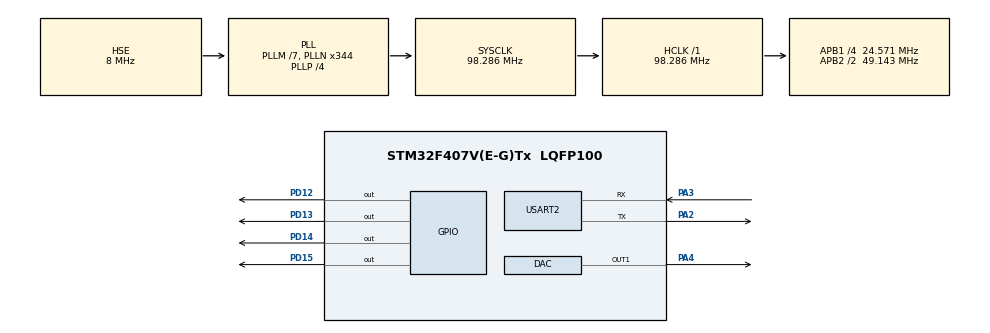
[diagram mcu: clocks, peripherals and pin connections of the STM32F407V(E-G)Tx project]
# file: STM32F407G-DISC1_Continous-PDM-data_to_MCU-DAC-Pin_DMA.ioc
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DAC.DAC_Trigger=DAC_TRIGGER_T6_TRGO
Dma.DAC1.0.Direction=DMA_MEMORY_TO_PERIPH
Dma.DAC1.0.FIFOMode=DMA_FIFOMODE_DISABLE
Dma.DAC1.0.Instance=DMA1_Stream5
Dma.DAC1.0.MemDataAlignment=DMA_MDATAALIGN_HALFWORD
Dma.DAC1.0.MemInc=DMA_MINC_ENABLE
Dma.DAC1.0.Mode=DMA_CIRCULAR
Dma.DAC1.0.PeriphDataAlignment=DMA_PDATAALIGN_HALFWORD
Dma.DAC1.0.PeriphInc=DMA_PINC_DISABLE
Dma.DAC1.0.Priority=DMA_PRIORITY_MEDIUM
Dma.Request0=DAC1
Mcu.Family=STM32F4
Mcu.Name=STM32F407V(E-G)Tx
Mcu.Package=LQFP100
NVIC.DMA1_Stream5_IRQn=true\:0\:0\:false\:false\:true\:false\:true\:true
NVIC.PriorityGroup=NVIC_PRIORITYGROUP_0
NVIC.TIM2_IRQn=true\:0\:0\:false\:false\:true\:true\:true\:true
NVIC.TIM6_DAC_IRQn=true\:0\:0\:false\:false\:true\:true\:true\:true
NVIC.TIM7_IRQn=true\:0\:0\:false\:false\:true\:true\:true\:true
PA13.Mode=Trace_Asynchronous_SW
PA13.Signal=SYS_JTMS-SWDIO
PA14.Mode=Trace_Asynchronous_SW
PA14.Signal=SYS_JTCK-SWCLK
PA2.Mode=Asynchronous
PA2.Signal=USART2_TX
PA3.Mode=Asynchronous
PA3.Signal=USART2_RX
PA4.Signal=COMP_DAC1_group
PA5.GPIO_Speed=GPIO_SPEED_FREQ_LOW
PA5.Signal=SPI1_SCK
PB10.GPIO_Speed=GPIO_SPEED_FREQ_LOW
PB10.Signal=SPI2_SCK
PB15.GPIO_Speed=GPIO_SPEED_FREQ_LOW
PB15.Signal=SPI2_MOSI
PB3.Mode=Trace_Asynchronous_SW
PB3.Signal=SYS_JTDO-SWO
PB4.GPIO_Speed=GPIO_SPEED_FREQ_LOW
PB4.Signal=SPI1_MISO
PB5.GPIO_Speed=GPIO_SPEED_FREQ_LOW
PB5.Signal=SPI1_MOSI
PD12.Signal=GPIO_Output
PD13.Signal=GPIO_Output
PD14.Signal=GPIO_Output
PD15.Signal=GPIO_Output
PDM2PCM.CHANNEL1_in_ptr_channels=1
PDM2PCM.CHANNEL1_out_ptr_channels=1
PDM2PCM.CHANNEL1_output_samples_number=250
PH0-OSC_IN.Mode=HSE-External-Oscillator
PH0-OSC_IN.Signal=RCC_OSC_IN
PH1-OSC_OUT.Mode=HSE-External-Oscillator
PH1-OSC_OUT.Signal=RCC_OSC_OUT
ProjectManager.HeapSize=0x200
ProjectManager.StackSize=0x400
ProjectManager.TargetToolchain=STM32CubeIDE
RCC.48MHZClocksFreq_Value=56163265.30612246
RCC.AHBFreq_Value=98285714.2857143
RCC.APB1CLKDivider=RCC_HCLK_DIV4
RCC.APB1Freq_Value=24571428.571428575
RCC.APB1TimFreq_Value=49142857.14285715
RCC.APB2CLKDivider=RCC_HCLK_DIV2
RCC.APB2Freq_Value=49142857.14285715
RCC.APB2TimFreq_Value=98285714.2857143
RCC.CortexFreq_Value=98285714.2857143
RCC.HCLKFreq_Value=98285714.2857143
RCC.HSE_VALUE=8000000
RCC.HSI_VALUE=16000000
RCC.LSE_VALUE=32768
RCC.PLLM=7
RCC.PLLN=344
RCC.PLLP=RCC_PLLP_DIV4
RCC.PLLQ=7
RCC.PLLSourceVirtual=RCC_PLLSOURCE_HSE
RCC.SYSCLKFreq_VALUE=98285714.2857143
RCC.SYSCLKSource=RCC_SYSCLKSOURCE_PLLCLK
RCC.VCOOutputFreq_Value=393142857.1428572
SH.COMP_DAC1_group.0=DAC_OUT1,DAC_OUT1
TIM2.AutoReloadPreload=TIM_AUTORELOAD_PRELOAD_ENABLE
TIM2.Period=250-1
TIM2.Prescaler=1024-1
TIM2.TIM_MasterOutputTrigger=TIM_TRGO_UPDATE
TIM6.AutoReloadPreload=TIM_AUTORELOAD_PRELOAD_ENABLE
TIM6.Period=64-1
TIM6.Prescaler=16-1
TIM6.TIM_MasterOutputTrigger=TIM_TRGO_UPDATE
TIM7.Period=250
TIM7.Prescaler=1024-1
TIM7.TIM_MasterOutputTrigger=TIM_TRGO_UPDATE
USART2.VirtualMode=VM_ASYNC
VP_CRC_VS_CRC.Mode=CRC_Activate
VP_PDM2PCM_VS_PDM2PCM.Mode=PDM2PCM_Channel
VP_TIM2_VS_ClockSourceINT.Mode=Internal
VP_TIM6_VS_ClockSourceINT.Mode=Enable_Timer
VP_TIM7_VS_ClockSourceINT.Mode=Enable_Timer
board=STM32F407G-DISC1

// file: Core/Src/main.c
/* USER CODE BEGIN Header */
/**
 ******************************************************************************
 * @file           : main.c
 * @brief          : Main program body
 ******************************************************************************
 * @attention
 *
 * <h2><center>&copy; Copyright (c) 2021 STMicroelectronics.
 * All rights reserved.</center></h2>
 *
 * This software component is licensed by ST under Ultimate Liberty license
 * SLA0044, the "License"; You may not use this file except in compliance with
 * the License. You may obtain a copy of the License at:
 *                             www.st.com/SLA0044
 *
 ******************************************************************************
 */
/* USER CODE END Header */
#include "main.h"
#include "pdm2pcm.h"

/* USER CODE BEGIN Includes */

#include <stdio.h>
#include "pdm_tones.h"

/* USER CODE END Includes */

 CRC_HandleTypeDef hcrc;

DAC_HandleTypeDef hdac;
DMA_HandleTypeDef hdma_dac1;

TIM_HandleTypeDef htim2;
TIM_HandleTypeDef htim6;
TIM_HandleTypeDef htim7;

UART_HandleTypeDef huart2;

/* USER CODE BEGIN PV */

uint8_t send_data2[30] = "SPI buffer test";
uint8_t receive_data2[1000];
uint8_t PDM_receive_data[2000];

uint8_t send_data1[30] = "SPI buffer test";
uint8_t receive_data1[30];

int16_t PCM_outBuffer[500];
uint16_t PCM_DAC_outBuffer[500], timerPeriodElapsedCallbk_cntr;

/* USER CODE END PV */

void SystemClock_Config(void);
static void MX_GPIO_Init(void);
static void MX_USART2_UART_Init(void);
static void MX_DMA_Init(void);
static void MX_CRC_Init(void);
static void MX_DAC_Init(void);
static void MX_TIM6_Init(void);
static void MX_TIM2_Init(void);
static void MX_TIM7_Init(void);
/* USER CODE BEGIN PFP */

#define PUTCHAR_PROTOTYPE int __io_putchar(int ch)

/* USER CODE END PFP */

int main(void)
{

  /* MCU Configuration--------------------------------------------------------*/

  /* Reset of all peripherals, Initializes the Flash interface and the Systick. */
  HAL_Init();

  /* Configure the system clock */
  SystemClock_Config();

  /* Initialize all configured peripherals */
  MX_GPIO_Init();
  MX_USART2_UART_Init();
  MX_DMA_Init();
  MX_CRC_Init();
  MX_PDM2PCM_Init();
  MX_DAC_Init();
  MX_TIM6_Init();
  MX_TIM2_Init();
  MX_TIM7_Init();
  /* USER CODE BEGIN 2 */

	printf("Starting >> STM32F407G-DISC1_Continous-PDM-data_to_MCU-DAC-Pin_DMA \n");

	// first bit to MSB - 8bit tone "AA"
	for (uint16_t i = 0; i < sizeof(tone500HzA4_pdmdata) * 4; i++) {
		pdmBuffer8_8000bits_1000bytes_1[i >> 3] = 0x55;
		//		printf("i = %d,  i >>3 = %d, i mod sizeof(tone500HzA4_pdmdata) = %d \n",i, i >>3, i % sizeof(tone500HzA4_pdmdata));
	}

	// first bit to MSB - 8bit tone500Hz_pdmdata
	for (uint16_t i = 0; i < sizeof(tone500Hz_pdmdata) * 4; i++) {
		pdmBuffer8_8000bits_1000bytes_2[i >> 3] = (pdmBuffer8_8000bits_1000bytes_2[i >> 3] << 1) + tone500Hz_pdmdata[i % sizeof(tone500Hz_pdmdata)];
		//		printf("i = %d,  i >>3 = %d, i mod sizeof(tone500Hz_pdmdata) = %d \n",i, i >>3, i % sizeof(tone500Hz_pdmdata));
	}

	// first bit to MSB - 8bit tone500HzA4_pdmdata
	for (uint16_t i = 0; i < sizeof(tone500HzA4_pdmdata) * 4; i++) {
		pdmBuffer8_8000bits_1000bytes_3[i >> 3] = (pdmBuffer8_8000bits_1000bytes_3[i >> 3] << 1) + tone500HzA4_pdmdata[i % sizeof(tone500HzA4_pdmdata)];
		//		printf("i = %d,  i >>3 = %d, i mod sizeof(tone500HzA4_pdmdata) = %d \n",i, i >>3, i % sizeof(tone500HzA4_pdmdata));
	}

	for (uint16_t i = 0; i < 1000; i++) {
		pdmBuffer8_8000bits_4000bytes[i] = pdmBuffer8_8000bits_1000bytes_1[i]; // 0xAA data
	}

	for (uint16_t i = 0; i < 1000; i++) {
		pdmBuffer8_8000bits_4000bytes[i + 1000] = pdmBuffer8_8000bits_1000bytes_2[i]; // tone500Hz_pdmdata
	}

	for (uint16_t i = 0; i < 1000; i++) {
		pdmBuffer8_8000bits_4000bytes[i + 2000] = pdmBuffer8_8000bits_1000bytes_1[i]; // 0xAA data
	}

	for (uint16_t i = 0; i < 1000; i++) {
		pdmBuffer8_8000bits_4000bytes[i + 3000] = pdmBuffer8_8000bits_1000bytes_3[i]; // tone500HzA4_pdmdata
	}

	GPIOD->BSRR = (1 << 15); // Set
	PDM_Filter(&pdmBuffer8_8000bits_4000bytes[0], &PCM_outBuffer[0], &PDM1_filter_handler); // 2000bytes x 8bit/bytes = 16,000 bit / 64 decimate = 250 int of data
	GPIOD->BSRR = (1 << (15 + 16)); // Reset

	GPIOD->BSRR = (1 << 15); // Set
	PDM_Filter(&pdmBuffer8_8000bits_4000bytes[2000], &PCM_outBuffer[250], &PDM1_filter_handler); // 2000bytes x 8bit/bytes = 16,000 bit / 64 decimate = 250 int of data
	GPIOD->BSRR = (1 << (15 + 16)); // Reset

	for (int cntr = 0; cntr < 500; cntr++) { // 4000bytes x 8bit/bytes = 32,000 bit / 64 decimate = 500 int of data
		PCM_DAC_outBuffer[cntr] = (PCM_outBuffer[cntr] >> 4) + 2048; // convert to 12bit DC offset of DAC data
	}

	HAL_DAC_Start_DMA(&hdac, DAC_CHANNEL_1, (uint32_t*) PCM_DAC_outBuffer, 500, DAC_ALIGN_12B_R); // 4000bytes x 8bit/bytes = 32,000 bit / 64 decimate = 500 int of data

	HAL_TIM_Base_Start_IT(&htim6); //Start the timer
	HAL_TIM_Base_Start_IT(&htim2); //Start the timer
	HAL_TIM_Base_Start_IT(&htim7); //Start the timer

	HAL_Delay(100);

	printf("Ending   >> STM32F407G-DISC1_Continous-PDM-data_to_MCU-DAC-Pin_DMA \n");

  /* USER CODE END 2 */

  /* Infinite loop */
	while (1) {

	}
}

void SystemClock_Config(void)
{
  RCC_OscInitTypeDef RCC_OscInitStruct = {0};
  RCC_ClkInitTypeDef RCC_ClkInitStruct = {0};

  /** Configure the main internal regulator output voltage
  */
  __HAL_RCC_PWR_CLK_ENABLE();
  __HAL_PWR_VOLTAGESCALING_CONFIG(PWR_REGULATOR_VOLTAGE_SCALE1);

  /** Initializes the RCC Oscillators according to the specified parameters
  * in the RCC_OscInitTypeDef structure.
  */
  RCC_OscInitStruct.OscillatorType = RCC_OSCILLATORTYPE_HSE;
  RCC_OscInitStruct.HSEState = RCC_HSE_ON;
  RCC_OscInitStruct.PLL.PLLState = RCC_PLL_ON;
  RCC_OscInitStruct.PLL.PLLSource = RCC_PLLSOURCE_HSE;
  RCC_OscInitStruct.PLL.PLLM = 7;
  RCC_OscInitStruct.PLL.PLLN = 344;
  RCC_OscInitStruct.PLL.PLLP = RCC_PLLP_DIV4;
  RCC_OscInitStruct.PLL.PLLQ = 7;
  if (HAL_RCC_OscConfig(&RCC_OscInitStruct) != HAL_OK)
  {
    Error_Handler();
  }

  /** Initializes the CPU, AHB and APB buses clocks
  */
  RCC_ClkInitStruct.ClockType = RCC_CLOCKTYPE_HCLK|RCC_CLOCKTYPE_SYSCLK
                              |RCC_CLOCKTYPE_PCLK1|RCC_CLOCKTYPE_PCLK2;
  RCC_ClkInitStruct.SYSCLKSource = RCC_SYSCLKSOURCE_PLLCLK;
  RCC_ClkInitStruct.AHBCLKDivider = RCC_SYSCLK_DIV1;
  RCC_ClkInitStruct.APB1CLKDivider = RCC_HCLK_DIV4;
  RCC_ClkInitStruct.APB2CLKDivider = RCC_HCLK_DIV2;

  if (HAL_RCC_ClockConfig(&RCC_ClkInitStruct, FLASH_LATENCY_3) != HAL_OK)
  {
    Error_Handler();
  }
}

static void MX_CRC_Init(void)
{

  hcrc.Instance = CRC;
  if (HAL_CRC_Init(&hcrc) != HAL_OK)
  {
    Error_Handler();
  }
  __HAL_CRC_DR_RESET(&hcrc);

}

static void MX_DAC_Init(void)
{

  DAC_ChannelConfTypeDef sConfig = {0};

  /** DAC Initialization
  */
  hdac.Instance = DAC;
  if (HAL_DAC_Init(&hdac) != HAL_OK)
  {
    Error_Handler();
  }

  /** DAC channel OUT1 config
  */
  sConfig.DAC_Trigger = DAC_TRIGGER_T6_TRGO;
  sConfig.DAC_OutputBuffer = DAC_OUTPUTBUFFER_ENABLE;
  if (HAL_DAC_ConfigChannel(&hdac, &sConfig, DAC_CHANNEL_1) != HAL_OK)
  {
    Error_Handler();
  }

}

static void MX_TIM2_Init(void)
{

  TIM_ClockConfigTypeDef sClockSourceConfig = {0};
  TIM_MasterConfigTypeDef sMasterConfig = {0};

  htim2.Instance = TIM2;
  htim2.Init.Prescaler = 1024-1;
  htim2.Init.CounterMode = TIM_COUNTERMODE_UP;
  htim2.Init.Period = 250-1;
  htim2.Init.ClockDivision = TIM_CLOCKDIVISION_DIV1;
  htim2.Init.AutoReloadPreload = TIM_AUTORELOAD_PRELOAD_ENABLE;
  if (HAL_TIM_Base_Init(&htim2) != HAL_OK)
  {
    Error_Handler();
  }
  sClockSourceConfig.ClockSource = TIM_CLOCKSOURCE_INTERNAL;
  if (HAL_TIM_ConfigClockSource(&htim2, &sClockSourceConfig) != HAL_OK)
  {
    Error_Handler();
  }
  sMasterConfig.MasterOutputTrigger = TIM_TRGO_UPDATE;
  sMasterConfig.MasterSlaveMode = TIM_MASTERSLAVEMODE_DISABLE;
  if (HAL_TIMEx_MasterConfigSynchronization(&htim2, &sMasterConfig) != HAL_OK)
  {
    Error_Handler();
  }

}

static void MX_TIM6_Init(void)
{

  TIM_MasterConfigTypeDef sMasterConfig = {0};

  htim6.Instance = TIM6;
  htim6.Init.Prescaler = 16-1;
  htim6.Init.CounterMode = TIM_COUNTERMODE_UP;
  htim6.Init.Period = 64-1;
  htim6.Init.AutoReloadPreload = TIM_AUTORELOAD_PRELOAD_ENABLE;
  if (HAL_TIM_Base_Init(&htim6) != HAL_OK)
  {
    Error_Handler();
  }
  sMasterConfig.MasterOutputTrigger = TIM_TRGO_UPDATE;
  sMasterConfig.MasterSlaveMode = TIM_MASTERSLAVEMODE_DISABLE;
  if (HAL_TIMEx_MasterConfigSynchronization(&htim6, &sMasterConfig) != HAL_OK)
  {
    Error_Handler();
  }

}

static void MX_TIM7_Init(void)
{

  TIM_MasterConfigTypeDef sMasterConfig = {0};

  htim7.Instance = TIM7;
  htim7.Init.Prescaler = 1024-1;
  htim7.Init.CounterMode = TIM_COUNTERMODE_UP;
  htim7.Init.Period = 250;
  htim7.Init.AutoReloadPreload = TIM_AUTORELOAD_PRELOAD_DISABLE;
  if (HAL_TIM_Base_Init(&htim7) != HAL_OK)
  {
    Error_Handler();
  }
  sMasterConfig.MasterOutputTrigger = TIM_TRGO_UPDATE;
  sMasterConfig.MasterSlaveMode = TIM_MASTERSLAVEMODE_DISABLE;
  if (HAL_TIMEx_MasterConfigSynchronization(&htim7, &sMasterConfig) != HAL_OK)
  {
    Error_Handler();
  }

}

static void MX_USART2_UART_Init(void)
{

  huart2.Instance = USART2;
  huart2.Init.BaudRate = 115200;
  huart2.Init.WordLength = UART_WORDLENGTH_8B;
  huart2.Init.StopBits = UART_STOPBITS_1;
  huart2.Init.Parity = UART_PARITY_NONE;
  huart2.Init.Mode = UART_MODE_TX_RX;
  huart2.Init.HwFlowCtl = UART_HWCONTROL_NONE;
  huart2.Init.OverSampling = UART_OVERSAMPLING_16;
  if (HAL_UART_Init(&huart2) != HAL_OK)
  {
    Error_Handler();
  }

}

static void MX_DMA_Init(void)
{

  /* DMA controller clock enable */
  __HAL_RCC_DMA1_CLK_ENABLE();

  /* DMA interrupt init */
  /* DMA1_Stream5_IRQn interrupt configuration */
  HAL_NVIC_SetPriority(DMA1_Stream5_IRQn, 0, 0);
  HAL_NVIC_EnableIRQ(DMA1_Stream5_IRQn);

}

static void MX_GPIO_Init(void)
{
  GPIO_InitTypeDef GPIO_InitStruct = {0};

  /* GPIO Ports Clock Enable */
  __HAL_RCC_GPIOH_CLK_ENABLE();
  __HAL_RCC_GPIOA_CLK_ENABLE();
  __HAL_RCC_GPIOB_CLK_ENABLE();
  __HAL_RCC_GPIOD_CLK_ENABLE();

  /*Configure GPIO pin Output Level */
  HAL_GPIO_WritePin(GPIOD, GPIO_PIN_12|GPIO_PIN_13|GPIO_PIN_14|GPIO_PIN_15, GPIO_PIN_RESET);

  /*Configure GPIO pin : PA5 */
  GPIO_InitStruct.Pin = GPIO_PIN_5;
  GPIO_InitStruct.Mode = GPIO_MODE_AF_PP;
  GPIO_InitStruct.Pull = GPIO_NOPULL;
  GPIO_InitStruct.Speed = GPIO_SPEED_FREQ_LOW;
  GPIO_InitStruct.Alternate = GPIO_AF5_SPI1;
  HAL_GPIO_Init(GPIOA, &GPIO_InitStruct);

  /*Configure GPIO pins : PB10 PB15 */
  GPIO_InitStruct.Pin = GPIO_PIN_10|GPIO_PIN_15;
  GPIO_InitStruct.Mode = GPIO_MODE_AF_PP;
  GPIO_InitStruct.Pull = GPIO_NOPULL;
  GPIO_InitStruct.Speed = GPIO_SPEED_FREQ_LOW;
  GPIO_InitStruct.Alternate = GPIO_AF5_SPI2;
  HAL_GPIO_Init(GPIOB, &GPIO_InitStruct);

  /*Configure GPIO pins : PD12 PD13 PD14 PD15 */
  GPIO_InitStruct.Pin = GPIO_PIN_12|GPIO_PIN_13|GPIO_PIN_14|GPIO_PIN_15;
  GPIO_InitStruct.Mode = GPIO_MODE_OUTPUT_PP;
  GPIO_InitStruct.Pull = GPIO_NOPULL;
  GPIO_InitStruct.Speed = GPIO_SPEED_FREQ_LOW;
  HAL_GPIO_Init(GPIOD, &GPIO_InitStruct);

  /*Configure GPIO pins : PB4 PB5 */
  GPIO_InitStruct.Pin = GPIO_PIN_4|GPIO_PIN_5;
  GPIO_InitStruct.Mode = GPIO_MODE_AF_PP;
  GPIO_InitStruct.Pull = GPIO_NOPULL;
  GPIO_InitStruct.Speed = GPIO_SPEED_FREQ_LOW;
  GPIO_InitStruct.Alternate = GPIO_AF5_SPI1;
  HAL_GPIO_Init(GPIOB, &GPIO_InitStruct);

}

/* USER CODE BEGIN 4 */

PUTCHAR_PROTOTYPE {
	/* Place your implementation of fputc here */
	/* e.g. write a character to the LPUART1 and Loop until the end of transmission */
	HAL_UART_Transmit(&huart2, (uint8_t*) &ch, 1, 0xFFFF);

	return ch;
}

void HAL_TIM_PeriodElapsedCallback(TIM_HandleTypeDef *htim)
{
  /* Prevent unused argument(s) compilation warning */
  UNUSED(htim);

  /* NOTE : This function should not be modified, when the callback is needed,
            the HAL_TIM_TriggerCallback could be implemented in the user file
   */

  HAL_GPIO_WritePin(GPIOD, GPIO_PIN_12, SET);
  HAL_GPIO_TogglePin(GPIOD, GPIO_PIN_13);

  if ((timerPeriodElapsedCallbk_cntr % 2) == 0)
  {
	  GPIOD->BSRR = (1 << 14); // Set
	  PDM_Filter(&pdmBuffer8_8000bits_4000bytes[0], &PCM_outBuffer[0], &PDM1_filter_handler); // 2000bytes x 8bit/bytes = 16,000 bit / 64 decimate = 250 int of data
	  GPIOD->BSRR = (1 << (14 + 16)); // Reset
  } else
  {
	  GPIOD->BSRR = (1 << 15); // Set
	  PDM_Filter(&pdmBuffer8_8000bits_4000bytes[2000], &PCM_outBuffer[250], &PDM1_filter_handler); // 2000bytes x 8bit/bytes = 16,000 bit / 64 decimate = 250 int of data
	  GPIOD->BSRR = (1 << (15 + 16)); // Reset
  }
  timerPeriodElapsedCallbk_cntr++;

}

void HAL_TIM_PeriodElapsedHalfCpltCallback(TIM_HandleTypeDef *htim)
{
  /* Prevent unused argument(s) compilation warning */
  UNUSED(htim);

  /* NOTE : This function should not be modified, when the callback is needed,
            the HAL_TIM_TriggerCallback could be implemented in the user file
   */

  HAL_GPIO_WritePin(GPIOD, GPIO_PIN_13, SET);

}

void HAL_TIM_TriggerCallback(TIM_HandleTypeDef *htim)
{
  /* Prevent unused argument(s) compilation warning */
  UNUSED(htim);

  /* NOTE : This function should not be modified, when the callback is needed,
            the HAL_TIM_TriggerCallback could be implemented in the user file
   */

  HAL_GPIO_WritePin(GPIOD, GPIO_PIN_12, SET);

}

/**
  * @brief  Hall Trigger detection half complete callback in non-blocking mode
  * @param  htim TIM handle
  * @retval None
  */
void HAL_TIM_TriggerHalfCpltCallback(TIM_HandleTypeDef *htim)
{
  /* Prevent unused argument(s) compilation warning */
  UNUSED(htim);

  /* NOTE : This function should not be modified, when the callback is needed,
            the HAL_TIM_TriggerHalfCpltCallback could be implemented in the user file
   */
  HAL_GPIO_WritePin(GPIOD, GPIO_PIN_13, SET);
  HAL_GPIO_WritePin(GPIOD, GPIO_PIN_12, RESET);

}

/* USER CODE END 4 */

void Error_Handler(void)
{
  /* USER CODE BEGIN Error_Handler_Debug */
	/* User can add his own implementation to report the HAL error return state */
	printf("Error_Handler \n");
	__disable_irq();
	while (1) {
	}
  /* USER CODE END Error_Handler_Debug */
}
